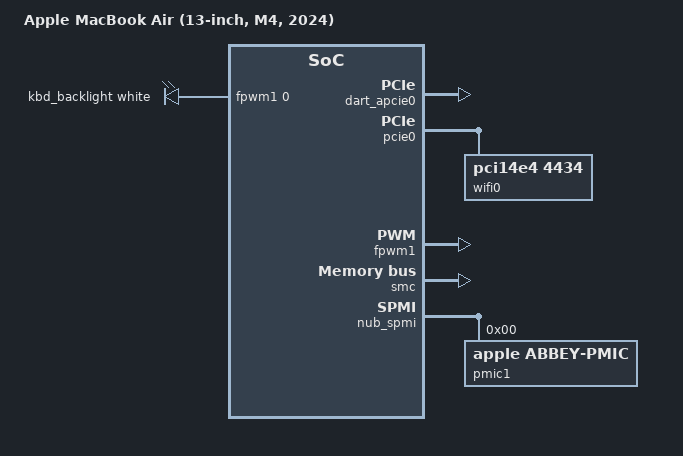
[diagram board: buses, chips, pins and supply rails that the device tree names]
// SPDX-License-Identifier: GPL-2.0+ OR MIT
/*
 * Apple MacBook Air (13-inch, M4, 2025)
 *
 * target-type: J713
 *
 * Copyright The Asahi Linux Contributors
 */

/dts-v1/;

#include "t8132.dtsi"
#include "t8132-jxxx.dtsi"
#include <dt-bindings/leds/common.h>

/ {
	compatible = "apple,j713", "apple,t8132", "apple,arm-platform";
	model = "Apple MacBook Air (13-inch, M4, 2024)";

	aliases {
		ans = &nvme;
		ans-mbox = &ans_mbox;
		pmu-primary = &pmic1;
		sart-ans = &sart;
		spmi-primary = &nub_spmi;
		wifi0 = &wifi0;
	};

	chosen {
		linux-enablement-mac,disk-boot;
		linux-enablement-mac,dapf-handoff = "/arm-io/aop", "/arm-io/mtp",
			"/arm-io/pmp";
		linux-enablement-mac,dapf-power-on-handoff = "/arm-io/pmp";
	};

	led-controller {
		compatible = "pwm-leds";
		led-0 {
			pwms = <&fpwm1 0 40000>;
			label = "kbd_backlight";
			function = LED_FUNCTION_KBD_BACKLIGHT;
			color = <LED_COLOR_ID_WHITE>;
			max-brightness = <255>;
			default-state = "keep";
		};
	};
};

/*
 * m1n1 performs the T8132 controller and PHY initialization. Linux adopts
 * the trained link and owns DART stream 16, RID-to-SID routing and MSI.
 *
 * AURORA_TODO: Determine and validate the T8132 DART fault interrupt, then
 * describe it on dart_apcie0 and make it mandatory in the binding.
 */
&soc {
	dart_apcie0: iommu@490000000 {
		compatible = "apple,t8132-dart", "apple,t8110-dart";
		reg = <0x4 0x90000000 0x0 0x20000>;
		#iommu-cells = <1>;
		apple,dma-range = <0x100 0x00010000 0x0 0x3fe00000>;
	};

	pcie0: pcie@1cb0000000 {
		compatible = "apple,t8132-pcie";
		device_type = "pci";

		reg = <0x1c 0xb0000000 0x0 0x10000000>, /* config */
		      <0x4 0x94000000 0x0 0x4000>,     /* common */
		      <0x4 0x90028000 0x0 0x8000>,     /* port 0 */
		      <0x4 0x97020000 0x0 0x4000>;     /* port 0 PHY glue */
		reg-names = "config", "rc", "port0", "phy0";

		interrupt-parent = <&aic>;
		interrupts = <AIC_IRQ 1231 IRQ_TYPE_LEVEL_HIGH>;

		msi-controller;
		msi-parent = <&pcie0>;
		msi-ranges = <&aic AIC_IRQ 1506 IRQ_TYPE_EDGE_RISING 32>;

		iommu-map = <0x100 &dart_apcie0 16 1>;
		iommu-map-mask = <0xff00>;

		bus-range = <0 1>;
		#address-cells = <3>;
		#size-cells = <2>;
		ranges = <0x43000000 0xb 0xc0000000
			  0xb 0xc0000000 0x0 0x20000000>,
			 <0x02000000 0x0 0x80000000
			  0xb 0x80000000 0x0 0x40000000>;

		port00: pci@0,0 {
			device_type = "pci";
			reg = <0x0 0x0 0x0 0x0 0x0>;
			bus-range = <1 1>;
			pwren-gpios = <&smc_gpio 0x13 GPIO_ACTIVE_HIGH>;
			reset-gpios = <&pinctrl_ap 163 GPIO_ACTIVE_LOW>;

			#address-cells = <3>;
			#size-cells = <2>;
			ranges;

			interrupt-controller;
			#interrupt-cells = <1>;
			interrupt-map-mask = <0 0 0 7>;
			interrupt-map = <0 0 0 1 &port00 0 0 0 0>,
					<0 0 0 2 &port00 0 0 0 1>,
					<0 0 0 3 &port00 0 0 0 2>,
					<0 0 0 4 &port00 0 0 0 3>;

			wifi0: wifi@0,0 {
				compatible = "pci14e4,4434";
				reg = <0x10000 0x0 0x0 0x0 0x0>;
				brcm,board-type = "apple,garden";
				local-mac-address = [00 00 00 00 00 00];
				apple,antenna-sku = "XX";
			};
		};
	};
};

&fpwm1 {
	status = "okay";
};

&smc {
	status = "okay";

	reboot {
		compatible = "apple,t8132-smc-reboot", "apple,smc-reboot";
		nvmem-cells = <&shutdown_flag>, <&boot_stage>,
			<&boot_error_count>, <&panic_count>;
		nvmem-cell-names = "shutdown_flag", "boot_stage",
			"boot_error_count", "panic_count";
	};
};

&smc_mbox {
	status = "okay";
};

&nub_spmi {
	status = "okay";

	pmic1: pmic@0 {
		compatible = "apple,abbey-pmic", "apple,spmi-nvmem";
		reg = <0x0 SPMI_USID>; /* To be filled by loader */

		nvmem-layout {
			compatible = "fixed-layout";
			#address-cells = <1>;
			#size-cells = <1>;

			boot_stage: boot-stage@f801 {
				reg = <0xf801 0x1>;
			};

			boot_error_count: boot-error-count@f802,0 {
				reg = <0xf802 0x1>;
				bits = <0 4>;
			};

			panic_count: panic-count@f802,4 {
				reg = <0xf802 0x1>;
				bits = <4 4>;
			};

			shutdown_flag: shutdown-flag@f80f,3 {
				reg = <0xf80f 0x1>;
				bits = <3 1>;
			};
		};
	};
};
/*
 * These blocks are initialized and retained by iBoot/DCP. Linux does not yet
 * own the T8132 display power sequence, and the GPIO block must remain live
 * for inherited firmware and input state.
 */
&framebuffer0 {
	/delete-property/ power-domains;
};

&pinctrl_ap {
	/delete-property/ power-domains;
};
